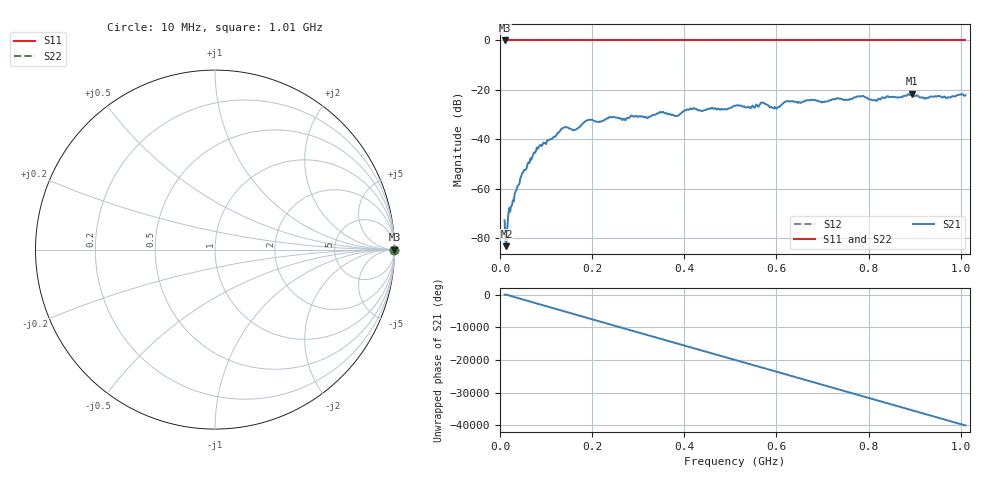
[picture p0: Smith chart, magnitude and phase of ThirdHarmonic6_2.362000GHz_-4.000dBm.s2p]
! 8/17/2025 3:38:00 AM
! C:\ANRITSUVNA\TEMP\TEMP.S2P
! CHANNEL.1
! TR.MEASUREMENT
! RAW.DATA
! RF.CORRECTION.OFF
! AVERAGING.OFF
! IF.BANDWIDTH: 5KHZ
! SWEEPTYPE:  FREQ.SWEEP(Linear)
! Reference Plane Port Info
! PORT:  PORT1  PORT2
! DISTANCE:  0  m  0  m
! TIME:  0  s  0  s
! PHASE.OFFSET:  0  deg.  0  deg.
! LOSS:  0  dB  0  dB
! REF.LOSS:  0  dB  0  dB
! REF.FREQ:  0  Hz  0  Hz
! Power Info
! POWER:  -20  dBm  -20  dBm
! EFF.POWER:  -20  dBm  -20  dBm
! SOURCE.ATTEN:  0  dB  0  dB
! TEST.ATTEN:  0  dB  0  dB
# GHZ S RI R 50.0
! FREQ.GHZ  S11RE  S11IM  S21RE  S21IM  S12RE  S12IM  S22RE  S22IM
!; PortSelection: Port_12
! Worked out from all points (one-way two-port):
!   501 points, 10 MHz to 1.01 GHz, reference 50 ohm
!   highest |S21| = -21.50 dB at 894 MHz (marker M1); lowest = -83.1 dB at 14 MHz (marker M2)
!   lowest |S11| = 0.0 dB at 10 MHz (marker M3)
!   |S11| at or under -10 dB: nowhere
!   |S22| runs from 0.0 to 0.0 dB; largest |S21 - S12| = 1.1
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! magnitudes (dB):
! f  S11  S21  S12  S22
! 10 MHz  0.0  -72.7  0.0  0.0
! 14 MHz  0.0  -83.1  0.0  0.0
! 22 MHz  0.0  -69.2  0.0  0.0
! 48 MHz  0.0  -53.7  0.0  0.0
! 76 MHz  0.0  -45.4  0.0  0.0
! 136 MHz  0.0  -35.5  0.0  0.0
! 162 MHz  0.0  -36.2  0.0  0.0
! 178 MHz  0.0  -33.8  0.0  0.0
! 194 MHz  0.0  -32.0  0.0  0.0
! 322 MHz  0.0  -31.1  0.0  0.0
! 344 MHz  0.0  -29.4  0.0  0.0
! 384 MHz  0.0  -30.5  0.0  0.0
! 416 MHz  0.0  -27.8  0.0  0.0
! 510 MHz  0.0  -26.4  0.0  0.0
! 570 MHz  0.0  -25.1  0.0  0.0
! 598 MHz  0.0  -27.3  0.0  0.0
! 622 MHz  0.0  -24.6  0.0  0.0
! 678 MHz  0.0  -24.0  0.0  0.0
! 844 MHz  0.0  -22.8  0.0  0.0
! 894 MHz  0.0  -21.5  0.0  0.0
! 924 MHz  0.0  -23.4  0.0  0.0
! 1.01 GHz  0.0  -22.2  0.0  0.0
